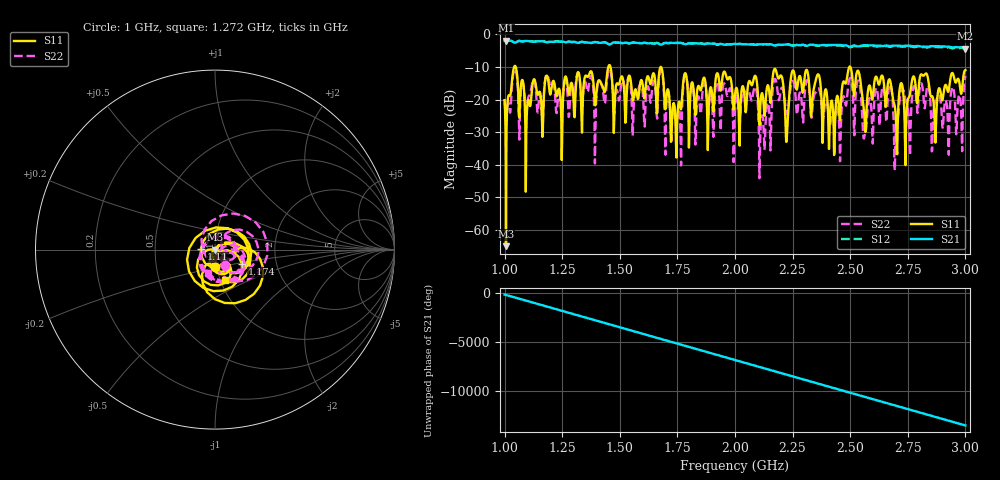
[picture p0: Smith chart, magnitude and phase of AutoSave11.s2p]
!Agilent N9923A: A.05.17
!Date: Sunday, 01 January 2006 13:24:23
!Model: N9923A
!Serial: MY50371189
!CHECKSUM:1342486954
!Correction: S11(ON U)S21(OFF)S12(OFF)S22(OFF)
!S2P File: Measurements:S11,S21,S12,S22:
# Hz S DB R 50
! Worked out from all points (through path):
!   1001 points, 1 GHz to 3 GHz, reference 50 ohm
!   highest |S21| = -1.89 dB at 1.006 GHz (marker M1); lowest = -4.4 dB at 3 GHz (marker M2)
!   group delay of S21, straight-line fit = 18.5 ns
!   lowest |S11| = -65.1 dB at 1.006 GHz (marker M3), VSWR 1.00, Z = 50 - j0.0278 ohm
!   |S11| at or under -10 dB: 1.048 GHz to 1.45 GHz (401.9 MHz wide, 32.2 % of centre); 1.679 GHz to 2.496 GHz (817.6 MHz wide, 39.2 % of centre); 2.501 GHz to end of sweep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
!   |S22| runs from -44.2 to -10.6 dB; largest |S21 - S12| = 0.045
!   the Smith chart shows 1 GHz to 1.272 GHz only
!   S11 on the Smith chart (normalised r, x): 1 GHz: 0.98, -0.19; 1.11 GHz: 0.85, +0.01; 1.174 GHz: 1.33, -0.22; 1.272 GHz: 1.05, -0.37
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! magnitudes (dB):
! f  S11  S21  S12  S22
! 1 GHz  -20.2  -1.9  -1.9  -19.9
! 1.006 GHz  -65.1  -1.9  -1.9  -27.1
! 1.044 GHz  -9.7  -2.5  -2.5  -10.6
! 1.11 GHz  -22.0  -2.1  -2.1  -18.5
! 1.174 GHz  -15.4  -2.2  -2.2  -15.0
! 1.272 GHz  -15.0  -2.3  -2.3  -17.4
! 1.334 GHz  -26.4  -2.3  -2.3  -23.1
! 1.668 GHz  -14.0  -2.8  -2.8  -15.5
! 1.744 GHz  -33.9  -2.6  -2.6  -26.6
! 1.784 GHz  -11.9  -3.0  -3.0  -12.8
! 2 GHz  -18.7  -2.9  -2.9  -23.5
! 2.174 GHz  -10.6  -3.4  -3.4  -13.7
! 2.224 GHz  -32.9  -3.1  -3.1  -24.3
! 2.334 GHz  -21.7  -3.2  -3.2  -24.6
! 2.452 GHz  -23.6  -3.2  -3.4  -27.8
! 2.536 GHz  -11.4  -3.7  -3.9  -14.2
! 2.562 GHz  -25.5  -3.3  -3.5  -31.0
! 2.668 GHz  -13.9  -3.6  -3.8  -16.3
! 2.698 GHz  -25.4  -3.4  -3.6  -29.9
! 2.726 GHz  -15.7  -3.6  -3.8  -16.5
! 2.924 GHz  -17.6  -3.7  -4.0  -27.4
! 3 GHz  -11.0  -4.4  -4.7  -12.7
